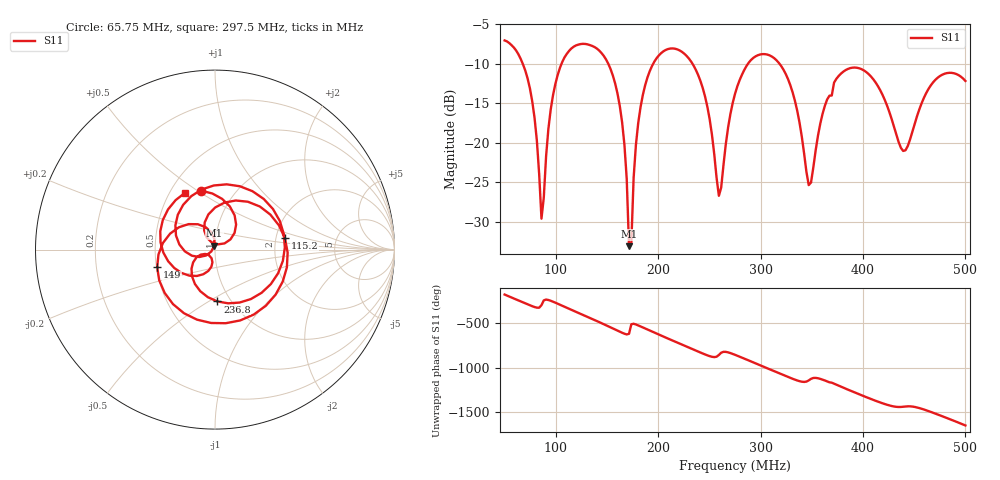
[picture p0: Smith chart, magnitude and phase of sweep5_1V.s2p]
!Agilent Technologies,E8364B,US42250162,A.07.50.67
!Agilent E8364B: A.07.50.67
!Date: Friday, June 23, 2023 16:15:00
!Correction: S11(Off)
!S21(Off)
!S12(Off)
!S22(Off)
!S2P File: Measurements: S11, S21, S12, S22:
# Hz S  RI  R 50
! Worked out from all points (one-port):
!   201 points, 50 MHz to 500 MHz, reference 50 ohm
!   lowest |S11| = -33.1 dB at 171.5 MHz (marker M1), VSWR 1.05, Z = 49.5 + j2.16 ohm
!   |S11| at or under -10 dB: 151.2 MHz to 195.2 MHz (43.95 MHz wide, 25.4 % of centre); 233.4 MHz to 287.7 MHz (54.33 MHz wide, 20.8 % of centre); 318.4 MHz to end of sweep (the widest 3 of 4)
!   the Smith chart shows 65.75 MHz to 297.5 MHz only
!   S11 on the Smith chart (normalised r, x): 65.75 MHz: 0.69, +0.52; 115.2 MHz: 2.24, +0.33; 149 MHz: 0.50, -0.11; 236.8 MHz: 0.87, -0.55; 297.5 MHz: 0.60, +0.43
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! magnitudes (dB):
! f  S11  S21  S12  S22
! 50 MHz  -7.1  -  -  -
! 65.75 MHz  -9.4  -  -  -
! 79.25 MHz  -16.9  -  -  -
! 86 MHz  -29.6  -  -  -
! 97.25 MHz  -14.0  -  -  -
! 115.2 MHz  -8.1  -  -  -
! 126.5 MHz  -7.5  -  -  -
! 149 MHz  -9.5  -  -  -
! 164.8 MHz  -17.4  -  -  -
! 171.5 MHz  -33.1  -  -  -
! 182.8 MHz  -15.5  -  -  -
! 200.8 MHz  -8.9  -  -  -
! 236.8 MHz  -10.8  -  -  -
! 259.2 MHz  -26.7  -  -  -
! 275 MHz  -13.8  -  -  -
! 297.5 MHz  -8.9  -  -  -
! 324.5 MHz  -11.3  -  -  -
! 351.5 MHz  -23.1  -  -  -
! 380.8 MHz  -11.0  -  -  -
! 425.8 MHz  -16.1  -  -  -
! 441.5 MHz  -20.9  -  -  -
! 500 MHz  -12.2  -  -  -
